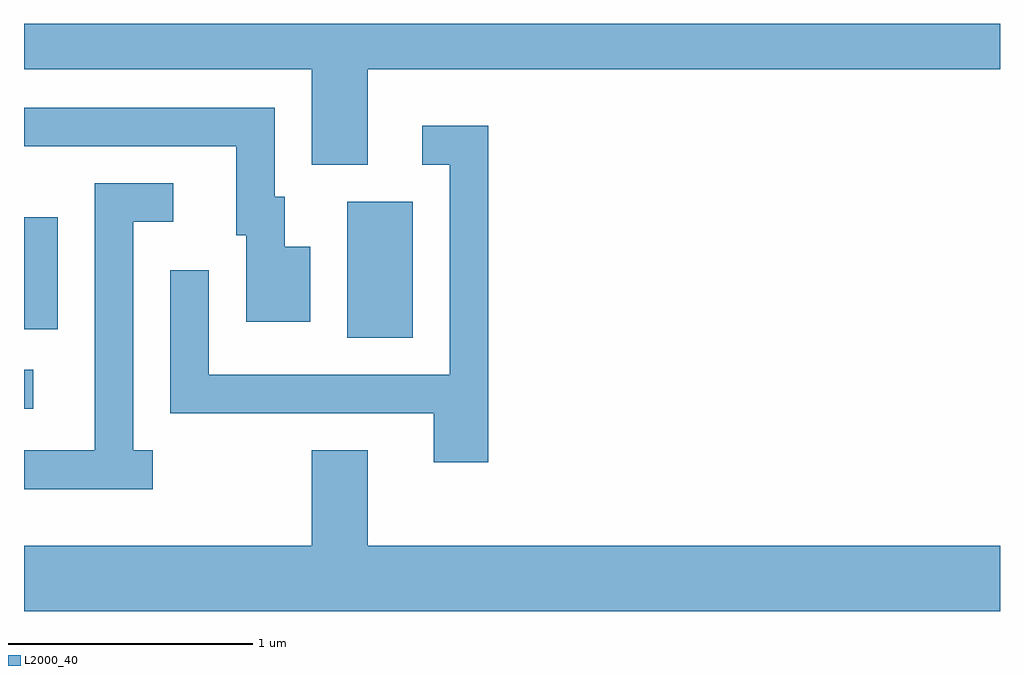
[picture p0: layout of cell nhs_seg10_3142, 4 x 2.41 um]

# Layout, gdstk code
import gdstk
lib = gdstk.Library(unit=1e-6, precision=1e-09)
def R(c, l, rs):  # rectangles x0, y0, x1, y1
    for r in rs: c.add(gdstk.rectangle(r[:2], r[2:], *l))
def P(c, l, *ps):  # polygons
    for p in ps: c.add(gdstk.Polygon(p, *l))
L2000_40 = (2000, 40)

nhs_seg10_3142 = lib.new_cell('nhs_seg10_3142')
R(nhs_seg10_3142, L2000_40, [(277.611,2136.946,277.648,2137.104), (278.936,2137.236,279.204,2137.794), (277.611,2137.271,277.749,2137.729)])
P(nhs_seg10_3142, L2000_40, [(279.019,2138.336),(281.611,2138.336),(281.611,2138.522),(277.611,2138.522),(277.611,2138.336),(278.791,2138.336),(278.791,2137.946),(279.019,2137.946)],
  [(278.784,2137.609),(278.679,2137.609),(278.679,2137.814),(278.639,2137.814),(278.639,2138.179),(277.611,2138.179),(277.611,2138.021),(278.481,2138.021),(278.481,2137.656),(278.521,2137.656),(278.521,2137.301),(278.784,2137.301)],
  [(279.514,2138.104),(279.243,2138.104),(279.243,2137.946),(279.356,2137.946),(279.356,2137.084),(278.369,2137.084),(278.369,2137.513),(278.211,2137.513),(278.211,2136.926),(279.291,2136.926),(279.291,2136.726),(279.514,2136.726)],
  [(278.138,2136.774),(278.059,2136.774),(278.059,2137.711),(278.223,2137.711),(278.223,2137.869),(277.901,2137.869),(277.901,2136.774),(277.611,2136.774),(277.611,2136.616),(278.138,2136.616)],
  [(281.611,2136.384),(279.019,2136.384),(279.019,2136.774),(278.791,2136.774),(278.791,2136.384),(277.611,2136.384),(277.611,2136.116),(281.611,2136.116)])

lib.write_gds('nhs_seg10_3142.gds')
